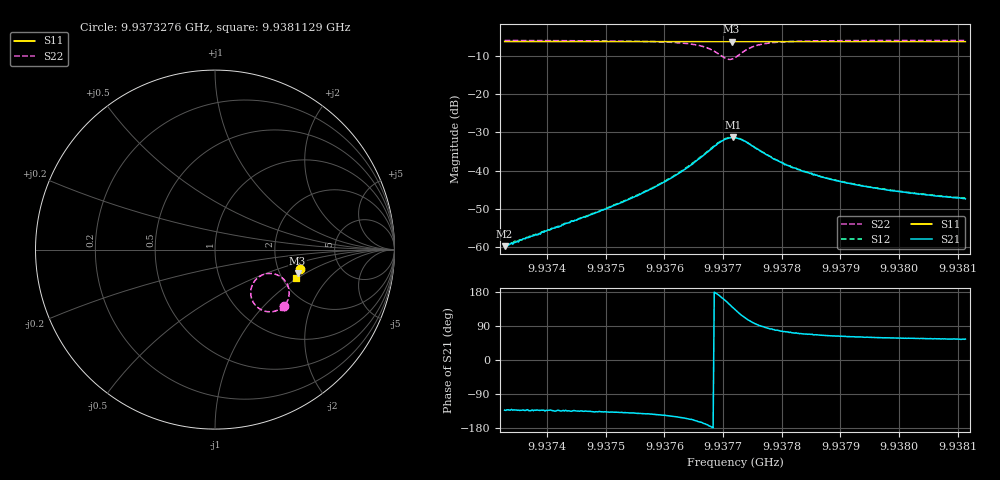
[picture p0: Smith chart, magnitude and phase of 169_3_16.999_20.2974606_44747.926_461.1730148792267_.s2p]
#  HZ  S  RI  R  50.00
! Rohde & Schwarz Vector Network Analyzer
! Rohde-Schwarz,ZNB20-2Port,1311601062101988,3.16
! Created: UTC 3/20/2024, 10:59:41 PM
! freq[Hz]  re:S11  im:S11  re:S21  im:S21  re:S12  im:S12  re:S22  im:S22
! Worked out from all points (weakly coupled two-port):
!   401 points, 9.9373276 GHz to 9.9381129 GHz, reference 50 ohm
!   highest |S21| = -31.35 dB at 9.9377163 GHz (marker M1); lowest = -59.7 dB at 9.9373276 GHz (marker M2)
!   lowest |S11| = -6.4 dB at 9.9377144 GHz (marker M3), VSWR 2.84, Z = 125 - j42.8 ohm
!   |S11| at or under -10 dB: nowhere
!   |S22| runs from -11.0 to -6.0 dB; largest |S21 - S12| = 0.0012
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9.93732759e9  0.4711 -0.1083  -0.000696 -0.000763  -0.000693 -0.000794  0.3868 -0.3126
9.93745913e9  0.4682 -0.1172  -0.0017 -0.00173  -0.00177 -0.00169  0.3715 -0.3253
9.93753177e9  0.4667 -0.122  -0.00301 -0.00262  -0.00307 -0.00263  0.3566 -0.3347
9.93759066e9  0.4651 -0.1261  -0.0053 -0.00376  -0.00546 -0.00374  0.3337 -0.3436
9.93762993e9  0.4639 -0.129  -0.00868 -0.00458  -0.0089 -0.0045  0.3036 -0.3469
9.93765349e9  0.463 -0.1306  -0.0124 -0.00444  -0.0127 -0.00419  0.2727 -0.3416
9.9376692e9  0.462 -0.1315  -0.016 -0.00334  -0.0165 -0.00298  0.2438 -0.3273
9.93768294e9  0.4613 -0.1321  -0.0201 -0.000287  -0.0205 0.000209  0.2161 -0.2979
9.93769668e9  0.4605 -0.1324  -0.0233 0.00577  -0.0235 0.00646  0.1991 -0.2446
9.9377065e9  0.4601 -0.1323  -0.0233 0.0118  -0.0234 0.0128  0.2084 -0.196
9.93771435e9  0.4599 -0.1323  -0.0211 0.0168  -0.0209 0.0177  0.2335 -0.161
9.93771631e9  0.46 -0.1322  -0.0203 0.0179  -0.02 0.0187  0.2418 -0.1541
9.93772024e9  0.4601 -0.1321  -0.0182 0.0196  -0.0179 0.0206  0.2604 -0.1429
9.93773006e9  0.4605 -0.1324  -0.0126 0.0223  -0.012 0.0227  0.3088 -0.1328
9.9377438e9  0.461 -0.1331  -0.00575 0.0217  -0.00491 0.0221  0.3621 -0.1488
9.9377654e9  0.4613 -0.1348  0.000335 0.0176  0.000859 0.0177  0.4011 -0.1907
9.93778699e9  0.4612 -0.1367  0.00237 0.0138  0.00292 0.0139  0.4122 -0.2235
9.93780859e9  0.4608 -0.1383  0.00318 0.0113  0.00349 0.0114  0.4132 -0.2463
9.93785178e9  0.4599 -0.1415  0.00341 0.00849  0.00373 0.00815  0.4084 -0.2731
9.93790675e9  0.4586 -0.1453  0.00326 0.0062  0.00341 0.00621  0.401 -0.2914
9.93798332e9  0.4566 -0.1505  0.00291 0.00471  0.00302 0.00471  0.3925 -0.3062
9.9381129e9  0.4533 -0.1589  0.00244 0.00351  0.00258 0.00354  0.3809 -0.3214
